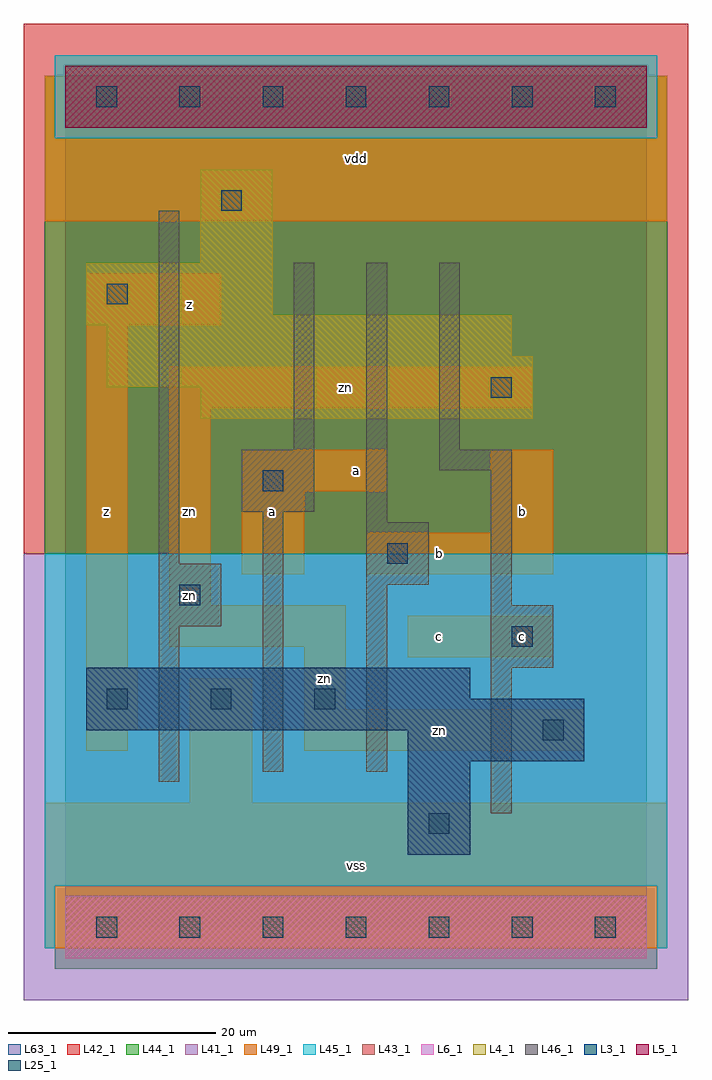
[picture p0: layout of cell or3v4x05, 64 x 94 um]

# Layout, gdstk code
import gdstk
lib = gdstk.Library(unit=1e-6, precision=1e-09)
def R(c, l, rs):  # rectangles x0, y0, x1, y1
    for r in rs: c.add(gdstk.rectangle(r[:2], r[2:], *l))
def A(c, l, x, y, w, h, nx, ny, dx, dy):  # array of equal rectangles
    R(c, l, [(x+i*dx, y+j*dy, x+i*dx+w, y+j*dy+h) for i in range(nx) for j in range(ny)])
L3_1 = (3, 1)
L4_1 = (4, 1)
L5_1 = (5, 1)
L6_1 = (6, 1)
L25_1 = (25, 1)
L41_1 = (41, 1)
L42_1 = (42, 1)
L43_1 = (43, 1)
L44_1 = (44, 1)
L45_1 = (45, 1)
L46_1 = (46, 1)
L49_1 = (49, 1)
L63_1 = (63, 1)

or3v4x05 = lib.new_cell('or3v4x05')
R(or3v4x05, L3_1, [(33,7,39,16), (33,16,50,19), (2,19,50,22), (2,22,39,25)])
R(or3v4x05, L4_1, [(13,49,45,52), (4,52,45,55), (4,55,43,58), (2,58,43,59), (2,59,20,64), (13,64,20,73)])
R(or3v4x05, L5_1, [(0,77,56,83)])
R(or3v4x05, L6_1, [(0,-3,56,3), (0,-3,56,3)])
A(or3v4x05, L25_1, 3, -1, 2, 2, 7, 2, 8, 80)
A(or3v4x05, L25_1, 4, 21, 2, 2, 3, 1, 10, 0)
R(or3v4x05, L25_1, [(35,9,37,11), (46,18,48,20), (43,27,45,29), (11,31,13,33), (31,35,33,37), (19,42,21,44), (41,51,43,53), (4,60,6,62), (15,69,17,71)])
R(or3v4x05, L41_1, [(-4,-7,60,36)])
R(or3v4x05, L42_1, [(-4,36,60,87)])
R(or3v4x05, L43_1, [(0,-3,56,3), (33,7,39,16), (33,16,50,19), (2,19,50,22), (2,22,39,25), (13,49,45,52), (4,52,45,55), (4,55,43,58), (2,58,43,59), (2,59,20,64), (13,64,20,73), (0,77,56,83)])
R(or3v4x05, L44_1, [(-1,-4,57,4), (-2,36,58,76), (-2,76,-1,82), (57,76,58,82)])
R(or3v4x05, L45_1, [(-2,-2,-1,4), (57,-2,58,4), (-2,4,58,36), (-1,76,57,84)])
R(or3v4x05, L46_1, [(41,11,43,25), (9,14,11,29), (19,15,21,40), (29,15,31,33), (41,25,47,31), (9,29,15,35), (41,31,43,44), (29,33,35,39), (9,35,11,69), (29,39,31,64), (17,40,24,46), (36,44,43,46), (22,46,24,64), (36,46,38,64)])
R(or3v4x05, L49_1, [(-2,-2,58,12), (12,12,18,24), (2,17,6,19), (23,17,50,21), (2,19,7,25), (23,21,27,27), (2,25,6,58), (33,26,47,30), (10,27,27,31), (10,31,14,50), (17,34,23,42), (29,34,47,38), (41,38,47,46), (17,42,31,46), (10,50,45,54), (2,58,15,63), (-2,68,58,82)])
R(or3v4x05, L63_1, [(0,0,56,80)])
or3v4x05.add(gdstk.Label('zn', (12,32), layer=49, texttype=1))
or3v4x05.add(gdstk.Label('z', (4,40), layer=49, texttype=1))
or3v4x05.add(gdstk.Label('zn', (25,24), layer=49, texttype=1))
or3v4x05.add(gdstk.Label('a', (20,40), layer=49, texttype=1))
or3v4x05.add(gdstk.Label('zn', (12,40), layer=49, texttype=1))
or3v4x05.add(gdstk.Label('z', (12,60), layer=49, texttype=1))
or3v4x05.add(gdstk.Label('vss', (28,6), layer=49, texttype=1))
or3v4x05.add(gdstk.Label('c', (36,28), layer=49, texttype=1))
or3v4x05.add(gdstk.Label('b', (36,36), layer=49, texttype=1))
or3v4x05.add(gdstk.Label('a', (28,44), layer=49, texttype=1))
or3v4x05.add(gdstk.Label('vdd', (28,74), layer=49, texttype=1))
or3v4x05.add(gdstk.Label('zn', (36,19), layer=49, texttype=1))
or3v4x05.add(gdstk.Label('c', (44,28), layer=49, texttype=1))
or3v4x05.add(gdstk.Label('b', (44,40), layer=49, texttype=1))
or3v4x05.add(gdstk.Label('zn', (27,52), layer=49, texttype=1))

lib.write_gds('or3v4x05.gds')
